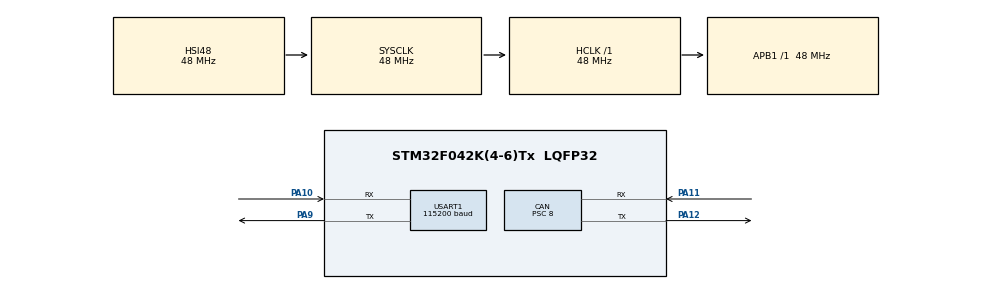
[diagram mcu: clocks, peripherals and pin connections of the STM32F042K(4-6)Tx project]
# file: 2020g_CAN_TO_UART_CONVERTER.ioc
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CAN.BS1=CAN_BS1_3TQ
CAN.BS2=CAN_BS2_2TQ
CAN.CalculateTimeQuantum=166.66666666666666
CAN.Prescaler=8
CAN.TXFP=ENABLE
Mcu.Family=STM32F0
Mcu.Name=STM32F042K(4-6)Tx
Mcu.Package=LQFP32
NVIC.CEC_CAN_IRQn=true\:0\:0\:false\:true\:true\:2\:true
NVIC.USART1_IRQn=true\:0\:0\:false\:true\:true\:1\:true
PA10.Mode=Asynchronous
PA10.Signal=USART1_RX
PA11.Mode=Master
PA11.Signal=CAN_RX
PA12.Mode=Master
PA12.Signal=CAN_TX
PA13.Mode=Serial_Wire
PA13.Signal=SYS_SWDIO
PA14.Mode=Serial_Wire
PA14.Signal=SYS_SWCLK
PA9.Mode=Asynchronous
PA9.Signal=USART1_TX
ProjectManager.HeapSize=0x200
ProjectManager.StackSize=0x400
ProjectManager.TargetToolchain=SW4STM32
RCC.AHBFreq_Value=48000000
RCC.APB1Freq_Value=48000000
RCC.APB1TimFreq_Value=48000000
RCC.HCLKFreq_Value=48000000
RCC.SYSCLKFreq_VALUE=48000000
RCC.SYSCLKSource=RCC_SYSCLKSOURCE_HSI48
USART1.BaudRate=115200
USART1.VirtualMode-Asynchronous=VM_ASYNC
board=custom

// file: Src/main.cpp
/**
  ******************************************************************************
  * @file           : main.c
  * @brief          : Main program body
  ******************************************************************************
  ** This notice applies to any and all portions of this file
  * that are not between comment pairs USER CODE BEGIN and
  * USER CODE END. Other portions of this file, whether
  * inserted by the user or by software development tools
  * are owned by their respective copyright owners.
  *
  * COPYRIGHT(c) 2020 STMicroelectronics
  *
  * Redistribution and use in source and binary forms, with or without modification,
  * are permitted provided that the following conditions are met:
  *   1. Redistributions of source code must retain the above copyright notice,
  *      this list of conditions and the following disclaimer.
  *   2. Redistributions in binary form must reproduce the above copyright notice,
  *      this list of conditions and the following disclaimer in the documentation
  *      and/or other materials provided with the distribution.
  *   3. Neither the name of STMicroelectronics nor the names of its contributors
  *      may be used to endorse or promote products derived from this software
  *      without specific prior written permission.
  *
  * THIS SOFTWARE IS PROVIDED BY THE COPYRIGHT HOLDERS AND CONTRIBUTORS "AS IS"
  * AND ANY EXPRESS OR IMPLIED WARRANTIES, INCLUDING, BUT NOT LIMITED TO, THE
  * IMPLIED WARRANTIES OF MERCHANTABILITY AND FITNESS FOR A PARTICULAR PURPOSE ARE
  * DISCLAIMED. IN NO EVENT SHALL THE COPYRIGHT HOLDER OR CONTRIBUTORS BE LIABLE
  * FOR ANY DIRECT, INDIRECT, INCIDENTAL, SPECIAL, EXEMPLARY, OR CONSEQUENTIAL
  * DAMAGES (INCLUDING, BUT NOT LIMITED TO, PROCUREMENT OF SUBSTITUTE GOODS OR
  * SERVICES; LOSS OF USE, DATA, OR PROFITS; OR BUSINESS INTERRUPTION) HOWEVER
  * CAUSED AND ON ANY THEORY OF LIABILITY, WHETHER IN CONTRACT, STRICT LIABILITY,
  * OR TORT (INCLUDING NEGLIGENCE OR OTHERWISE) ARISING IN ANY WAY OUT OF THE USE
  * OF THIS SOFTWARE, EVEN IF ADVISED OF THE POSSIBILITY OF SUCH DAMAGE.
  *
  ******************************************************************************
  */
#include "main.h"
#include "stm32f0xx_hal.h"

CAN_HandleTypeDef hcan;

UART_HandleTypeDef huart1;

/* USER CODE BEGIN PV */
/* Private variables ---------------------------------------------------------*/
uint8_t uart_receive_data[8] = {0};
uint8_t uart_send_data[8] = {0};
uint8_t can_send_data[8] = {0};
/* USER CODE END PV */

void SystemClock_Config(void);
static void MX_GPIO_Init(void);
static void MX_CAN_Init(void);
static void MX_USART1_UART_Init(void);
static void MX_NVIC_Init(void);

/* USER CODE BEGIN PFP */
/* Private function prototypes -----------------------------------------------*/
void CANSetFilter(uint8_t address);

template<size_t S>
void CANSend(uint8_t address, uint8_t(&send_data)[S]){
	static_assert(S <= 8, "Array size must be 8 or less");
	CAN_TxHeaderTypeDef canTxHeaderStruct;
	uint32_t mail_box;
	canTxHeaderStruct.StdId 				= address;
	canTxHeaderStruct.DLC 					= S;
	canTxHeaderStruct.ExtId 				= 0x00;
	canTxHeaderStruct.RTR 					= CAN_RTR_DATA;
	canTxHeaderStruct.IDE 					= CAN_ID_STD;
	canTxHeaderStruct.TransmitGlobalTime 	= DISABLE;
	if(HAL_CAN_AddTxMessage(&hcan, &canTxHeaderStruct, send_data, &mail_box) != HAL_OK){
		HAL_CAN_AbortTxRequest(&hcan, mail_box);
		HAL_CAN_AddTxMessage(&hcan, &canTxHeaderStruct, send_data, &mail_box);
	}
}
/* USER CODE END PFP */

/* USER CODE BEGIN 0 */
bool is_can_set_data = false;
/* USER CODE END 0 */

int main(void)
{

  /* MCU Configuration----------------------------------------------------------*/

  /* Reset of all peripherals, Initializes the Flash interface and the Systick. */
  HAL_Init();

  /* Configure the system clock */
  SystemClock_Config();

  /* Initialize all configured peripherals */
  MX_GPIO_Init();
  MX_CAN_Init();
  MX_USART1_UART_Init();

  /* Initialize interrupts */
  MX_NVIC_Init();
  /* USER CODE BEGIN 2 */
  CANSetFilter(0x02);
  HAL_CAN_ActivateNotification(&hcan, CAN_IT_RX_FIFO1_MSG_PENDING);
  HAL_UART_Receive_IT(&huart1, uart_receive_data, sizeof(uart_receive_data));
  /* USER CODE END 2 */

  /* Infinite loop */
  while (1)
  {

  /* USER CODE BEGIN 3 */
	  HAL_UART_Receive_IT(&huart1, uart_receive_data, sizeof(uart_receive_data));
  }
  /* USER CODE END 3 */

}

void SystemClock_Config(void)
{

  RCC_OscInitTypeDef RCC_OscInitStruct;
  RCC_ClkInitTypeDef RCC_ClkInitStruct;
  RCC_PeriphCLKInitTypeDef PeriphClkInit;

    /**Initializes the CPU, AHB and APB busses clocks
    */
  RCC_OscInitStruct.OscillatorType = RCC_OSCILLATORTYPE_HSI48;
  RCC_OscInitStruct.HSI48State = RCC_HSI48_ON;
  RCC_OscInitStruct.PLL.PLLState = RCC_PLL_NONE;
  if (HAL_RCC_OscConfig(&RCC_OscInitStruct) != HAL_OK)
  {
    _Error_Handler(__FILE__, __LINE__);
  }

    /**Initializes the CPU, AHB and APB busses clocks
    */
  RCC_ClkInitStruct.ClockType = RCC_CLOCKTYPE_HCLK|RCC_CLOCKTYPE_SYSCLK
                              |RCC_CLOCKTYPE_PCLK1;
  RCC_ClkInitStruct.SYSCLKSource = RCC_SYSCLKSOURCE_HSI48;
  RCC_ClkInitStruct.AHBCLKDivider = RCC_SYSCLK_DIV1;
  RCC_ClkInitStruct.APB1CLKDivider = RCC_HCLK_DIV1;

  if (HAL_RCC_ClockConfig(&RCC_ClkInitStruct, FLASH_LATENCY_1) != HAL_OK)
  {
    _Error_Handler(__FILE__, __LINE__);
  }

  PeriphClkInit.PeriphClockSelection = RCC_PERIPHCLK_USART1;
  PeriphClkInit.Usart1ClockSelection = RCC_USART1CLKSOURCE_PCLK1;
  if (HAL_RCCEx_PeriphCLKConfig(&PeriphClkInit) != HAL_OK)
  {
    _Error_Handler(__FILE__, __LINE__);
  }

    /**Configure the Systick interrupt time
    */
  HAL_SYSTICK_Config(HAL_RCC_GetHCLKFreq()/1000);

    /**Configure the Systick
    */
  HAL_SYSTICK_CLKSourceConfig(SYSTICK_CLKSOURCE_HCLK);

  /* SysTick_IRQn interrupt configuration */
  HAL_NVIC_SetPriority(SysTick_IRQn, 0, 0);
}

/**
  * @brief NVIC Configuration.
  * @retval None
  */
static void MX_NVIC_Init(void)
{
  /* USART1_IRQn interrupt configuration */
  HAL_NVIC_SetPriority(USART1_IRQn, 0, 0);
  HAL_NVIC_EnableIRQ(USART1_IRQn);
  /* CEC_CAN_IRQn interrupt configuration */
  HAL_NVIC_SetPriority(CEC_CAN_IRQn, 0, 0);
  HAL_NVIC_EnableIRQ(CEC_CAN_IRQn);
}

/* CAN init function */
static void MX_CAN_Init(void)
{

  hcan.Instance = CAN;
  hcan.Init.Prescaler = 8;
  hcan.Init.Mode = CAN_MODE_NORMAL;
  hcan.Init.SyncJumpWidth = CAN_SJW_1TQ;
  hcan.Init.TimeSeg1 = CAN_BS1_3TQ;
  hcan.Init.TimeSeg2 = CAN_BS2_2TQ;
  hcan.Init.TimeTriggeredMode = DISABLE;
  hcan.Init.AutoBusOff = DISABLE;
  hcan.Init.AutoWakeUp = DISABLE;
  hcan.Init.AutoRetransmission = DISABLE;
  hcan.Init.ReceiveFifoLocked = DISABLE;
  hcan.Init.TransmitFifoPriority = ENABLE;
  if (HAL_CAN_Init(&hcan) != HAL_OK)
  {
    _Error_Handler(__FILE__, __LINE__);
  }

}

/* USART1 init function */
static void MX_USART1_UART_Init(void)
{

  huart1.Instance = USART1;
  huart1.Init.BaudRate = 115200;
  huart1.Init.WordLength = UART_WORDLENGTH_8B;
  huart1.Init.StopBits = UART_STOPBITS_1;
  huart1.Init.Parity = UART_PARITY_NONE;
  huart1.Init.Mode = UART_MODE_TX_RX;
  huart1.Init.HwFlowCtl = UART_HWCONTROL_NONE;
  huart1.Init.OverSampling = UART_OVERSAMPLING_16;
  huart1.Init.OneBitSampling = UART_ONE_BIT_SAMPLE_DISABLE;
  huart1.AdvancedInit.AdvFeatureInit = UART_ADVFEATURE_NO_INIT;
  if (HAL_UART_Init(&huart1) != HAL_OK)
  {
    _Error_Handler(__FILE__, __LINE__);
  }

}

/** Configure pins as
        * Analog
        * Input
        * Output
        * EVENT_OUT
        * EXTI
*/
static void MX_GPIO_Init(void)
{

  /* GPIO Ports Clock Enable */
  __HAL_RCC_GPIOA_CLK_ENABLE();

}

/* USER CODE BEGIN 4 */
void HAL_SYSTICK_Callback() {
	static uint8_t interval_time = 0;

	if(interval_time >= 10) {
		if(is_can_set_data) {
			CANSend(0x01, can_send_data);
			is_can_set_data = false;
		}
		interval_time = 0;
	}
	interval_time++;
}

void HAL_CAN_RxFifo1MsgPendingCallback(CAN_HandleTypeDef *hcan) {
	uint8_t receive_data[8] = {0};
	CAN_RxHeaderTypeDef rx_header;
	HAL_CAN_GetRxMessage(hcan, CAN_RX_FIFO1, &rx_header, receive_data);
	HAL_UART_Transmit(&huart1, receive_data, sizeof(receive_data), 100);
}

void HAL_UART_RxCpltCallback(UART_HandleTypeDef *huart) {
	if(huart == &huart1) {
		for(uint8_t i = 0; i < sizeof(uart_receive_data); ++i) {
			can_send_data[i] = uart_receive_data[i];
		}
		is_can_set_data = true;
	}
	HAL_UART_Receive_IT(&huart1, uart_receive_data, sizeof(uart_receive_data));
}

void CANSetFilter(uint8_t address) {
	CAN_FilterTypeDef CAN_FilterStruct;
	CAN_FilterStruct.FilterBank				= 0;
	CAN_FilterStruct.FilterMode				= CAN_FILTERMODE_IDMASK;
	CAN_FilterStruct.FilterScale			= CAN_FILTERSCALE_32BIT;
	CAN_FilterStruct.FilterMaskIdHigh		= 0xFFE0;
	CAN_FilterStruct.FilterMaskIdLow		= 0x0000;
	CAN_FilterStruct.FilterIdHigh			= (uint16_t)((uint16_t)address << 5);
	CAN_FilterStruct.FilterIdLow			= 0x0000;
	CAN_FilterStruct.FilterFIFOAssignment	= CAN_FILTER_FIFO1;
	CAN_FilterStruct.FilterActivation		= ENABLE;
	CAN_FilterStruct.SlaveStartFilterBank	= 14;
	HAL_CAN_ConfigFilter(&hcan, &CAN_FilterStruct);
}
/* USER CODE END 4 */

void _Error_Handler(char *file, int line)
{
  while(1)
  {
  }
}

/************************ (C) COPYRIGHT STMicroelectronics *****END OF FILE****/
